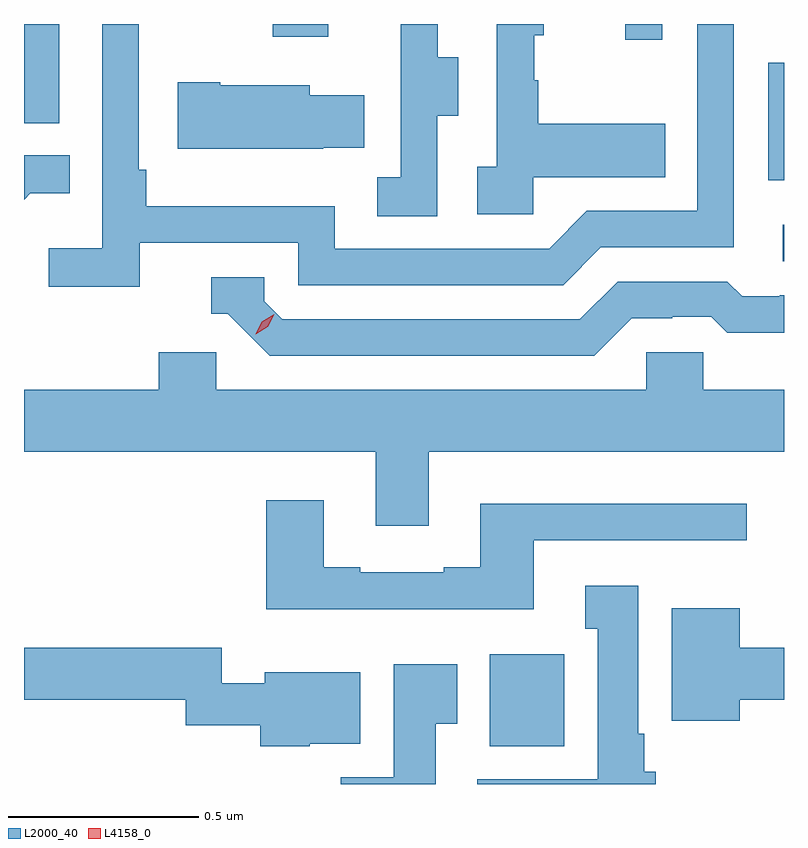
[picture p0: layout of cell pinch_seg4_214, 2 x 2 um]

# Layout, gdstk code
import gdstk
lib = gdstk.Library(unit=1e-6, precision=1e-09)
def R(c, l, rs):  # rectangles x0, y0, x1, y1
    for r in rs: c.add(gdstk.rectangle(r[:2], r[2:], *l))
def P(c, l, *ps):  # polygons
    for p in ps: c.add(gdstk.Polygon(p, *l))
L2000_40 = (2000, 40)
L4158_0 = (4158, 0)

pinch_seg4_214 = lib.new_cell('pinch_seg4_214')
R(pinch_seg4_214, L2000_40, [(966.041,812.03,966.238,812.272), (966.813,813.306,966.816,813.402), (966.774,813.519,966.816,813.828), (964.816,813.669,964.909,813.93), (966.398,813.888,966.495,813.93), (965.47,813.897,965.617,813.93)])
P(pinch_seg4_214, L2000_40, [(966.156,813.527),(966.503,813.527),(966.503,813.667),(966.169,813.667),(966.169,813.782),(966.159,813.782),(966.159,813.9),(966.184,813.9),(966.184,813.93),(966.06,813.93),(966.06,813.554),(966.009,813.554),(966.009,813.429),(966.156,813.429)],
  [(965.12,813.354),(965.538,813.354),(965.538,813.243),(966.235,813.243),(966.334,813.342),(966.684,813.342),(966.684,813.93),(966.588,813.93),(966.588,813.438),(966.297,813.438),(966.198,813.339),(965.634,813.339),(965.634,813.451),(965.138,813.451),(965.138,813.547),(965.118,813.547),(965.118,813.93),(965.022,813.93),(965.022,813.34),(964.881,813.34),(964.881,813.238),(965.12,813.238)],
  [(965.904,813.688),(965.959,813.688),(965.959,813.843),(965.905,813.843),(965.905,813.93),(965.807,813.93),(965.807,813.831),(965.808,813.831),(965.808,813.527),(965.745,813.527),(965.745,813.424),(965.904,813.424)],
  [(965.603,813.605),(965.711,813.605),(965.711,813.742),(965.568,813.742),(965.568,813.769),(965.332,813.769),(965.332,813.777),(965.22,813.777),(965.22,813.602),(965.603,813.602)],
  [(964.833,813.485),(964.937,813.485),(964.937,813.584),(964.816,813.584),(964.816,813.468)],
  [(966.415,813.156),(966.522,813.156),(966.522,813.159),(966.625,813.159),(966.667,813.117),(966.816,813.117),(966.816,813.216),(966.805,813.216),(966.805,813.213),(966.706,813.213),(966.667,813.252),(966.378,813.252),(966.279,813.153),(965.496,813.153),(965.448,813.201),(965.448,813.264),(965.309,813.264),(965.309,813.168),(965.352,813.168),(965.463,813.057),(966.316,813.057)],
  [(965.881,812.804),(966.816,812.804),(966.816,812.968),(966.603,812.968),(966.603,813.066),(966.453,813.066),(966.453,812.968),(965.322,812.968),(965.322,813.066),(965.171,813.066),(965.171,812.968),(964.816,812.968),(964.816,812.804),(965.741,812.804),(965.741,812.61),(965.881,812.61)],
  [(966.157,812.571),(966.718,812.571),(966.718,812.668),(966.017,812.668),(966.017,812.5),(965.921,812.5),(965.921,812.487),(965.701,812.487),(965.701,812.5),(965.605,812.5),(965.605,812.677),(965.453,812.677),(965.453,812.39),(966.157,812.39)],
  [(966.478,811.962),(966.448,811.962),(966.448,812.062),(966.433,812.062),(966.433,812.452),(966.293,812.452),(966.293,812.339),(966.326,812.339),(966.326,811.942),(966.009,811.942),(966.009,811.93),(966.478,811.93)],
  [(966.7,812.152),(966.816,812.152),(966.816,812.288),(966.7,812.288),(966.7,812.392),(966.521,812.392),(966.521,812.096),(966.7,812.096)],
  [(965.568,812.036),(965.701,812.036),(965.701,812.224),(965.45,812.224),(965.45,812.195),(965.337,812.195),(965.337,812.288),(964.816,812.288),(964.816,812.152),(965.241,812.152),(965.241,812.085),(965.438,812.085),(965.438,812.03),(965.568,812.03)],
  [(965.899,812.089),(965.956,812.089),(965.956,812.245),(965.789,812.245),(965.789,811.948),(965.65,811.948),(965.65,811.93),(965.899,811.93)])
P(pinch_seg4_214, L4158_0, [(965.426,813.114),(965.426,813.114),(965.442,813.147),(965.474,813.166),(965.474,813.166),(965.474,813.166),(965.457,813.133),(965.426,813.114)])

lib.write_gds('pinch_seg4_214.gds')
